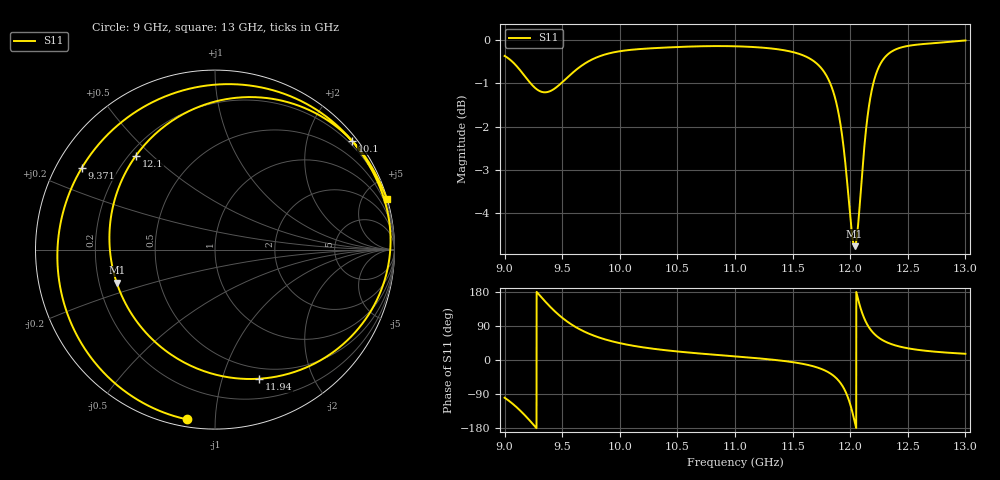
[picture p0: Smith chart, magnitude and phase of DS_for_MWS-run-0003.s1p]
! TOUCHSTONE file generated by CST DESIGN STUDIO
! Date and time: Wed Feb  5 13:19:32 2025
! Project name: C:\Work\MatlabApps\UnitCellOptimizationMatlab\CST\unitcell.cst
! Tree item: Tasks\Sweep1\SPara1\S-Parameters
! Header version: 2024
! Port assignment regex: !\s*Touchstone port\s*([0-9]+)\s*=\s*(CST MWS port|CST DES external port|CST DES block port)\s*(.+)\s* \(\"(.*)\"\)(\s*mode\s*([0-9]+))?.*
! Touchstone port assignment:
! Touchstone port 1 = CST DES external port 1 ("")
# GHz S MA R 50
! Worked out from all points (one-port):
!   4001 points, 9 GHz to 13 GHz, reference 50 ohm
!   lowest |S11| = -4.8 dB at 12.04 GHz (marker M1), VSWR 3.74, Z = 13.7 - j7.6 ohm
!   |S11| at or under -10 dB: nowhere
!   S11 on the Smith chart (normalised r, x): 9 GHz: 0.04, -0.85; 9.371 GHz: 0.07, +0.28; 10.1 GHz: 0.12, +2.87; 11.94 GHz: 0.39, -1.33; 12.1 GHz: 0.23, +0.44; 13 GHz: 0.03, +6.93
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9  0.9586 -99.5
9.108  0.9318 -125.6
9.217  0.894 -159.3
9.292  0.8749 174.9
9.371  0.8708 148.3
9.5  0.8937 111.5
9.601  0.9192 89.8
9.733  0.9456 69.3
10  0.9706 44.5
10.102  0.9744 38.3
10.5  0.9816 22.5
11  0.9835 9.6
11.5  0.9686 -5.6
11.793  0.9101 -29.5
11.874  0.8521 -46.4
11.938  0.7608 -71.0
11.971  0.691 -91.5
12  0.6251 -116.8
12.038  0.5781 -161.4
12.066  0.6063 163.2
12.097  0.6836 130.2
12.126  0.7613 107.1
12.158  0.8301 88.6
12.205  0.8957 70.1
12.256  0.9352 57.1
12.355  0.969 42.2
12.5  0.9844 30.9
13  0.9988 16.4
